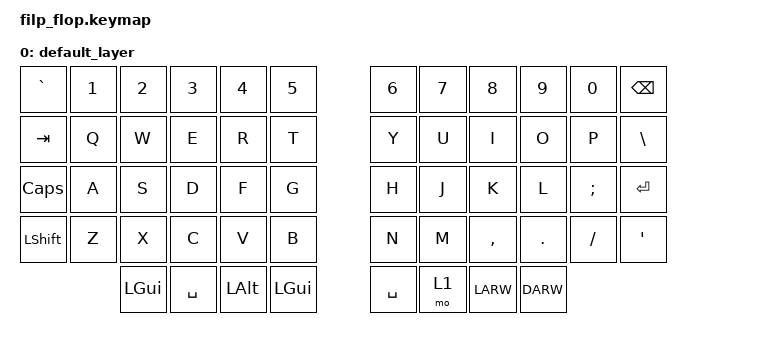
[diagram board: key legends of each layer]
#include <behaviors.dtsi>
#include <dt-bindings/zmk/keys.h>

/ {
    keymap {
        compatible = "zmk,keymap";

        default_layer { 
// ---------------------------------------------------------------------------------
// |   `  |  1  |  2  |  3  |  4  |  5  |     |  6  |  7  |  8  |  9  |  0  | BKSP |
// |  TAB |  Q  |  W  |  E  |  R  |  T  |     |  Y  |  U  |  I  |  O  |  P  |  \   |
// | CAPS |  A  |  S  |  D  |  F  |  G  |     |  H  |  J  |  K  |  L  |  ;  |  ENT |
// | SHFT |  Z  |  X  |  C  |  V  |  B  |     |  N  |  M  |  ,  |  .  |  /  | APOS |
//              | GUI | SPC | SPC | SPC |     | SPC | LOW |LARW |DARW |
                        bindings = <
&kp GRAVE  &kp N1    &kp N2    &kp N3     &kp N4     &kp N5               &kp N6     &kp N7  &kp N8     &kp N9    &kp N0    &kp BSPC
&kp TAB    &kp Q     &kp W     &kp E      &kp R      &kp T                &kp Y      &kp U   &kp I      &kp O     &kp P     &kp BSLH
&kp CAPS   &kp A     &kp S     &kp D      &kp F      &kp G                &kp H      &kp J   &kp K      &kp L     &kp SEMI  &kp RET
&kp LSHFT  &kp Z     &kp X     &kp C      &kp V      &kp B                &kp N      &kp M   &kp COMMA  &kp DOT   &kp FSLH  &kp APOS
                     &kp LGUI  &kp SPACE  &kp LALT   &kp LGUI             &kp SPACE  &mo 1   &kp LARW   &kp DARW  
                >;
        };
    };
 };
